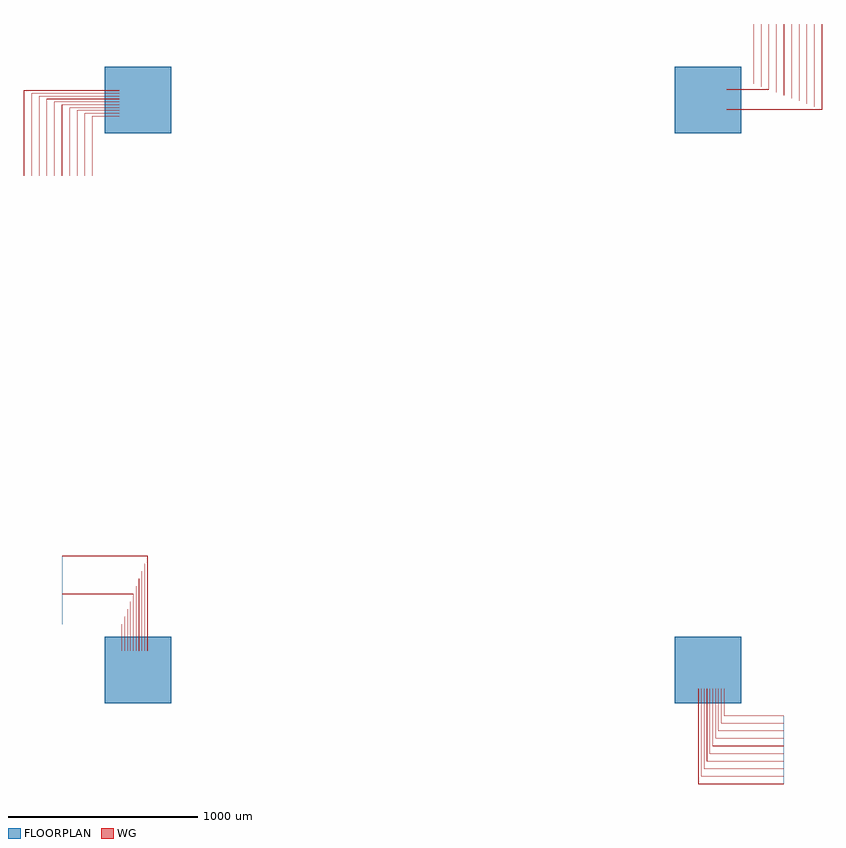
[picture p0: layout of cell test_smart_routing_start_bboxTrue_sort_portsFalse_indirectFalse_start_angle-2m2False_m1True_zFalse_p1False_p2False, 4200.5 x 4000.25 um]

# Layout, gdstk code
import gdstk
lib = gdstk.Library(unit=1e-6, precision=1e-09)
def R(c, l, rs):  # rectangles x0, y0, x1, y1
    for r in rs: c.add(gdstk.rectangle(r[:2], r[2:], *l))
def P(c, l, *ps):  # polygons
    for p in ps: c.add(gdstk.Polygon(p, *l))
WG = (1, 0)
FLOORPLAN = (10, 0)

test_smart_routing_start = lib.new_cell('test_smart_routing_start_bboxTrue_sort_portsFalse_indirectFalse_start_angle-2m2False_m1True_zFalse_p1False_p2False')
P(test_smart_routing_start, WG, [(49.75,100),(49.75,599.75),(-400,599.75),(-400,600.25),(50.25,600.25),(50.25,100)],
  [(34.75,100),(34.75,559.75),(-400,559.75),(-400,560.25),(35.25,560.25),(35.25,100)],
  [(19.75,100),(19.75,519.75),(-400,519.75),(-400,520.25),(20.25,520.25),(20.25,100)],
  [(4.75,100),(4.75,479.75),(-400,479.75),(-400,480.25),(5.25,480.25),(5.25,100)],
  [(-10.25,100),(-10.25,439.75),(-400,439.75),(-400,440.25),(-9.75,440.25),(-9.75,100)],
  [(-25.25,100),(-25.25,399.75),(-400,399.75),(-400,400.25),(-24.75,400.25),(-24.75,100)],
  [(-40.25,100),(-40.25,359.75),(-400,359.75),(-400,360.25),(-39.75,360.25),(-39.75,100)],
  [(-55.25,100),(-55.25,319.75),(-400,319.75),(-400,320.25),(-54.75,320.25),(-54.75,100)],
  [(-70.25,100),(-70.25,279.75),(-400,279.75),(-400,280.25),(-69.75,280.25),(-69.75,100)],
  [(-85.25,100),(-85.25,239.75),(-400,239.75),(-400,240.25),(-84.75,240.25),(-84.75,100)],
  [(-600.25,2600),(-600.25,3050.25),(-100,3050.25),(-100,3049.75),(-599.75,3049.75),(-599.75,2600)],
  [(-560.25,2600),(-560.25,3035.25),(-100,3035.25),(-100,3034.75),(-559.75,3034.75),(-559.75,2600)],
  [(-520.25,2600),(-520.25,3020.25),(-100,3020.25),(-100,3019.75),(-519.75,3019.75),(-519.75,2600)],
  [(-480.25,2600),(-480.25,3005.25),(-100,3005.25),(-100,3004.75),(-479.75,3004.75),(-479.75,2600)],
  [(-440.25,2600),(-440.25,2990.25),(-100,2990.25),(-100,2989.75),(-439.75,2989.75),(-439.75,2600)],
  [(-400.25,2600),(-400.25,2975.25),(-100,2975.25),(-100,2974.75),(-399.75,2974.75),(-399.75,2600)],
  [(-360.25,2600),(-360.25,2960.25),(-100,2960.25),(-100,2959.75),(-359.75,2959.75),(-359.75,2600)],
  [(-320.25,2600),(-320.25,2945.25),(-100,2945.25),(-100,2944.75),(-319.75,2944.75),(-319.75,2600)],
  [(-280.25,2600),(-280.25,2930.25),(-100,2930.25),(-100,2929.75),(-279.75,2929.75),(-279.75,2600)],
  [(-240.25,2600),(-240.25,2915.25),(-100,2915.25),(-100,2914.75),(-239.75,2914.75),(-239.75,2600)],
  [(2949.75,-600.25),(2949.75,-100),(2950.25,-100),(2950.25,-599.75),(3400,-599.75),(3400,-600.25)],
  [(2964.75,-560.25),(2964.75,-100),(2965.25,-100),(2965.25,-559.75),(3400,-559.75),(3400,-560.25)],
  [(2979.75,-520.25),(2979.75,-100),(2980.25,-100),(2980.25,-519.75),(3400,-519.75),(3400,-520.25)],
  [(2994.75,-480.25),(2994.75,-100),(2995.25,-100),(2995.25,-479.75),(3400,-479.75),(3400,-480.25)],
  [(3009.75,-440.25),(3009.75,-100),(3010.25,-100),(3010.25,-439.75),(3400,-439.75),(3400,-440.25)],
  [(3024.75,-400.25),(3024.75,-100),(3025.25,-100),(3025.25,-399.75),(3400,-399.75),(3400,-400.25)],
  [(3039.75,-360.25),(3039.75,-100),(3040.25,-100),(3040.25,-359.75),(3400,-359.75),(3400,-360.25)],
  [(3054.75,-320.25),(3054.75,-100),(3055.25,-100),(3055.25,-319.75),(3400,-319.75),(3400,-320.25)],
  [(3069.75,-280.25),(3069.75,-100),(3070.25,-100),(3070.25,-279.75),(3400,-279.75),(3400,-280.25)],
  [(3084.75,-240.25),(3084.75,-100),(3085.25,-100),(3085.25,-239.75),(3400,-239.75),(3400,-240.25)],
  [(3100,2949.75),(3100,2950.25),(3599.75,2950.25),(3599.75,3400),(3600.25,3400),(3600.25,2949.75)],
  [(3100,2964.75),(3100,2965.25),(3559.75,2965.25),(3559.75,3400),(3560.25,3400),(3560.25,2964.75)],
  [(3100,2979.75),(3100,2980.25),(3519.75,2980.25),(3519.75,3400),(3520.25,3400),(3520.25,2979.75)],
  [(3100,2994.75),(3100,2995.25),(3479.75,2995.25),(3479.75,3400),(3480.25,3400),(3480.25,2994.75)],
  [(3100,3009.75),(3100,3010.25),(3439.75,3010.25),(3439.75,3400),(3440.25,3400),(3440.25,3009.75)],
  [(3100,3024.75),(3100,3025.25),(3399.75,3025.25),(3399.75,3400),(3400.25,3400),(3400.25,3024.75)],
  [(3100,3039.75),(3100,3040.25),(3359.75,3040.25),(3359.75,3400),(3360.25,3400),(3360.25,3039.75)],
  [(3100,3054.75),(3100,3055.25),(3319.75,3055.25),(3319.75,3400),(3320.25,3400),(3320.25,3054.75)],
  [(3100,3069.75),(3100,3070.25),(3279.75,3070.25),(3279.75,3400),(3280.25,3400),(3280.25,3069.75)],
  [(3100,3084.75),(3100,3085.25),(3239.75,3085.25),(3239.75,3400),(3240.25,3400),(3240.25,3084.75)])
R(test_smart_routing_start, FLOORPLAN, [(-175,-175,175,175), (2825,-175,3175,175), (-175,2825,175,3175), (2825,2825,3175,3175)])
P(test_smart_routing_start, FLOORPLAN, [(-400,240),(-400,600),(-400,600),(-400,240)],
  [(-600,2600),(-600,2600),(-240,2600),(-240,2600)],
  [(3400,-600),(3400,-240),(3400,-240),(3400,-600)],
  [(3240,3400),(3240,3400),(3600,3400),(3600,3400)])

lib.write_gds('test_smart_routing_start_bboxTrue_sort_portsFalse_indirectFalse_start_angle-2m2False_m1True_zFalse_p1False_p2False.gds')
